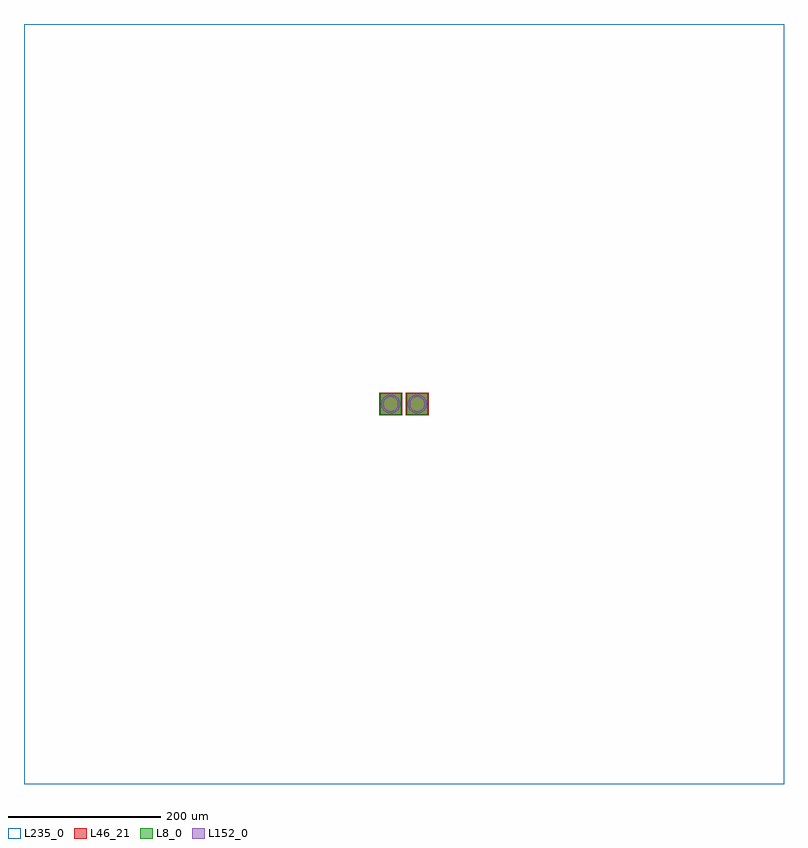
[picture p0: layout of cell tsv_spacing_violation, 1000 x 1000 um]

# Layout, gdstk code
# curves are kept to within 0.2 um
import gdstk
lib = gdstk.Library(unit=1e-6, precision=1e-09)
def R(c, l, rs):  # rectangles x0, y0, x1, y1
    for r in rs: c.add(gdstk.rectangle(r[:2], r[2:], *l))
def P(c, l, *ps):  # polygons
    for p in ps: c.add(gdstk.Polygon(p, *l))
L8_0 = (8, 0)
L46_21 = (46, 21)
L152_0 = (152, 0)
L235_0 = (235, 0)

tsv_spacing_violation = lib.new_cell('tsv_spacing_violation')
R(tsv_spacing_violation, L8_0, [(-31.5,-14,-3.5,14), (3.5,-14,31.5,14)])
R(tsv_spacing_violation, L46_21, [(-32.5,-15,-2.5,15), (2.5,-15,32.5,15)])
P(tsv_spacing_violation, L152_0, [(-17.5,-12.5),(-19.939,-12.26),(-22.284,-11.548),(-24.445,-10.393),(-26.339,-8.839),(-27.893,-6.945),(-29.048,-4.784),(-29.76,-2.439),(-30,0),(-29.76,2.439),(-29.048,4.784),(-27.893,6.945),(-25.61,9.5),(-17.5,9.5),(-20.258,9.091),(-21.978,8.378),(-24.218,6.718),(-25.399,5.278),(-26.591,2.758),(-26.954,0.931),(-26.954,-0.931),(-26.277,-3.635),(-24.844,-6.027),(-23.527,-7.344),(-21.135,-8.777),(-19.353,-9.317),(-17.5,-9.5),(-14.742,-9.091),(-12.222,-7.899),(-10.782,-6.718),(-8.723,-3.635),(-8,0),(-8.723,3.635),(-10.782,6.718),(-13.022,8.378),(-15.647,9.317),(-25.61,9.5),(-22.284,11.548),(-19.939,12.26),(-17.5,12.5),(-15.061,12.26),(-12.716,11.548),(-10.555,10.393),(-8.661,8.839),(-7.107,6.945),(-5.952,4.784),(-5.24,2.439),(-5,0),(-5.24,-2.439),(-5.952,-4.784),(-7.107,-6.945),(-8.661,-8.839),(-10.555,-10.393),(-12.716,-11.548),(-15.061,-12.26)],
  [(17.5,-12.5),(15.061,-12.26),(12.716,-11.548),(10.555,-10.393),(8.661,-8.839),(7.107,-6.945),(5.952,-4.784),(5.24,-2.439),(5,0),(5.24,2.439),(5.952,4.784),(7.107,6.945),(9.39,9.5),(17.5,9.5),(14.742,9.091),(13.022,8.378),(10.782,6.718),(9.601,5.278),(8.409,2.758),(8.046,0.931),(8.046,-0.931),(8.723,-3.635),(10.156,-6.027),(11.473,-7.344),(13.865,-8.777),(15.647,-9.317),(17.5,-9.5),(20.258,-9.091),(22.778,-7.899),(24.218,-6.718),(26.277,-3.635),(27,0),(26.277,3.635),(24.218,6.718),(21.978,8.378),(19.353,9.317),(9.39,9.5),(12.716,11.548),(15.061,12.26),(17.5,12.5),(19.939,12.26),(22.284,11.548),(24.445,10.393),(26.339,8.839),(27.893,6.945),(29.048,4.784),(29.76,2.439),(30,0),(29.76,-2.439),(29.048,-4.784),(27.893,-6.945),(26.339,-8.839),(24.445,-10.393),(22.284,-11.548),(19.939,-12.26)])
R(tsv_spacing_violation, L235_0, [(-500,-500,500,500)])

lib.write_gds('tsv_spacing_violation.gds')
